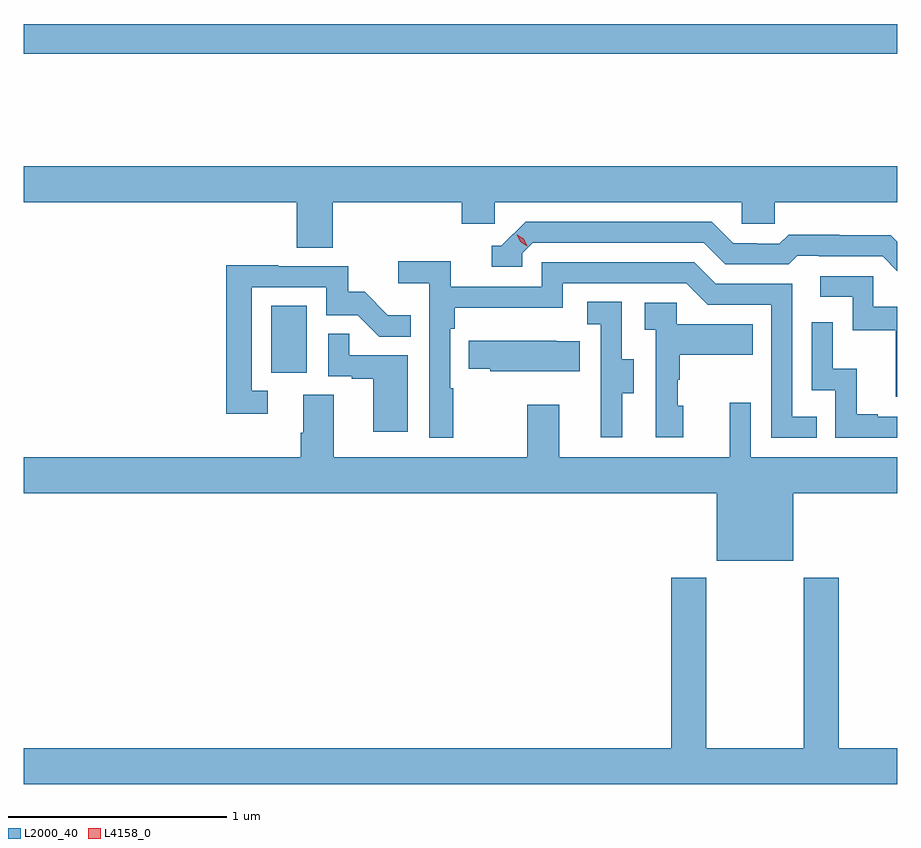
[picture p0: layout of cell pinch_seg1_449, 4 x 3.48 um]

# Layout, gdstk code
import gdstk
lib = gdstk.Library(unit=1e-6, precision=1e-09)
def R(c, l, rs):  # rectangles x0, y0, x1, y1
    for r in rs: c.add(gdstk.rectangle(r[:2], r[2:], *l))
def P(c, l, *ps):  # polygons
    for p in ps: c.add(gdstk.Polygon(p, *l))
L2000_40 = (2000, 40)
L4158_0 = (4158, 0)

pinch_seg1_449 = lib.new_cell('pinch_seg1_449')
R(pinch_seg1_449, L2000_40, [(1008.698,505.662,1008.862,505.969), (1007.565,507.124,1011.565,507.26)])
P(pinch_seg1_449, L2000_40, [(1008.98,506.444),(1009.571,506.444),(1009.571,506.346),(1009.722,506.346),(1009.722,506.444),(1010.853,506.444),(1010.853,506.346),(1011.003,506.346),(1011.003,506.444),(1011.565,506.444),(1011.565,506.608),(1007.565,506.608),(1007.565,506.444),(1008.815,506.444),(1008.815,506.236),(1008.98,506.236)],
  [(1011.565,506.264),(1011.536,506.293),(1011.3,506.293),(1011.3,506.296),(1011.067,506.296),(1011.025,506.253),(1010.922,506.253),(1010.922,506.256),(1010.815,506.256),(1010.716,506.355),(1009.863,506.355),(1009.752,506.244),(1009.709,506.244),(1009.709,506.148),(1009.848,506.148),(1009.848,506.211),(1009.896,506.259),(1010.679,506.259),(1010.778,506.16),(1011.067,506.16),(1011.106,506.199),(1011.205,506.199),(1011.205,506.196),(1011.498,506.196),(1011.565,506.129)],
  [(1009.531,505.592),(1009.518,505.592),(1009.518,505.865),(1009.538,505.865),(1009.538,505.961),(1010.034,505.961),(1010.034,506.073),(1010.598,506.073),(1010.697,505.974),(1010.988,505.974),(1010.988,505.365),(1011.197,505.365),(1011.197,505.461),(1011.084,505.461),(1011.084,506.07),(1010.734,506.07),(1010.635,506.169),(1009.938,506.169),(1009.938,506.058),(1009.52,506.058),(1009.52,506.174),(1009.281,506.174),(1009.281,506.072),(1009.422,506.072),(1009.422,505.365),(1009.531,505.365)],
  [(1008.682,505.581),(1008.609,505.581),(1008.609,506.055),(1008.951,506.055),(1008.951,505.926),(1009.095,505.926),(1009.193,505.828),(1009.337,505.828),(1009.337,505.927),(1009.233,505.927),(1009.126,506.034),(1009.05,506.034),(1009.05,506.151),(1008.731,506.151),(1008.731,506.156),(1008.493,506.156),(1008.493,505.476),(1008.682,505.476)],
  [(1011.565,505.965),(1011.456,505.965),(1011.456,506.106),(1011.213,506.106),(1011.213,506.01),(1011.36,506.01),(1011.36,505.857),(1011.559,505.857),(1011.559,505.554),(1011.565,505.554)],
  [(1010.305,505.57),(1010.359,505.57),(1010.359,505.725),(1010.304,505.725),(1010.304,505.988),(1010.145,505.988),(1010.145,505.885),(1010.208,505.885),(1010.208,505.581),(1010.207,505.581),(1010.207,505.368),(1010.305,505.368)],
  [(1010.584,505.512),(1010.559,505.512),(1010.559,505.631),(1010.569,505.631),(1010.569,505.745),(1010.903,505.745),(1010.903,505.885),(1010.556,505.885),(1010.556,505.983),(1010.409,505.983),(1010.409,505.859),(1010.46,505.859),(1010.46,505.368),(1010.584,505.368)],
  [(1011.565,505.461),(1011.475,505.461),(1011.475,505.474),(1011.38,505.474),(1011.38,505.682),(1011.27,505.682),(1011.27,505.894),(1011.174,505.894),(1011.174,505.584),(1011.282,505.584),(1011.282,505.365),(1011.565,505.365)],
  [(1009.324,505.743),(1009.055,505.743),(1009.055,505.841),(1008.96,505.841),(1008.96,505.647),(1009.067,505.647),(1009.067,505.635),(1009.166,505.635),(1009.166,505.392),(1009.324,505.392)],
  [(1010.111,505.807),(1010.003,505.807),(1010.003,505.81),(1009.603,505.81),(1009.603,505.681),(1009.701,505.681),(1009.701,505.67),(1010.111,505.67)],
  [(1011.088,505.112),(1011.565,505.112),(1011.565,505.276),(1010.895,505.276),(1010.895,505.525),(1010.798,505.525),(1010.798,505.276),(1010.017,505.276),(1010.017,505.516),(1009.87,505.516),(1009.87,505.276),(1008.985,505.276),(1008.985,505.562),(1008.845,505.562),(1008.845,505.388),(1008.833,505.388),(1008.833,505.276),(1007.565,505.276),(1007.565,505.112),(1010.738,505.112),(1010.738,504.803),(1011.088,504.803)],
  [(1011.565,503.944),(1011.296,503.944),(1011.296,504.724),(1011.136,504.724),(1011.136,503.944),(1010.691,503.944),(1010.691,504.724),(1010.531,504.724),(1010.531,503.944),(1007.565,503.944),(1007.565,503.78),(1011.565,503.78)])
P(pinch_seg1_449, L4158_0, [(1009.87,506.243),(1009.839,506.263),(1009.823,506.295),(1009.823,506.296),(1009.824,506.296),(1009.854,506.276),(1009.87,506.244),(1009.87,506.243)])

lib.write_gds('pinch_seg1_449.gds')
